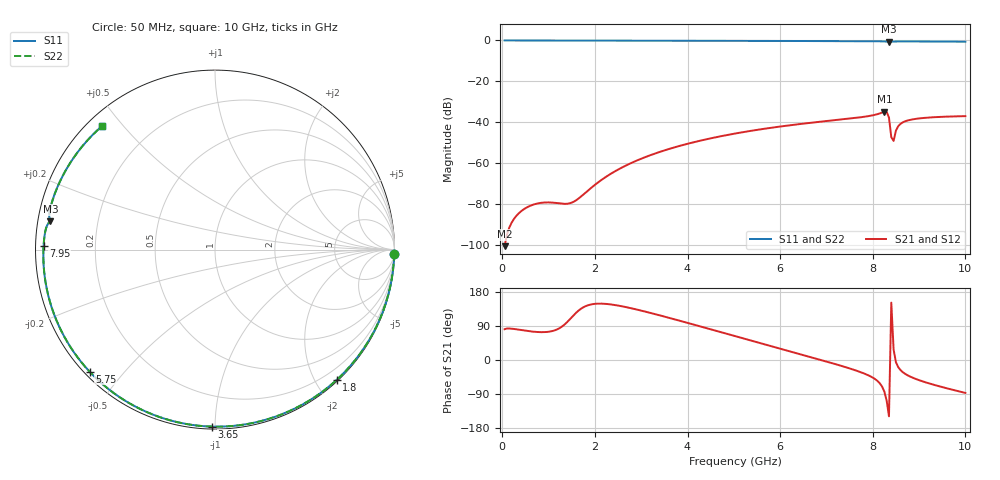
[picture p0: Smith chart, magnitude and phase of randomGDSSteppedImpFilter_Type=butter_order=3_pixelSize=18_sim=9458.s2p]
! freq	dB(S11)	phase(S11)	dB(S12)	phase(S12)
!  dB(S21)	phase(S21)	dB(S22)	phase(S22)
!S-par simulation data
#  GHz  S  DB  R 50
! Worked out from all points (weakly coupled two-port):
!   200 points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, 50 MHz to 10 GHz, reference 50 ohm
!   highest |S21| = -34.83 dB at 8.25 GHz (marker M1); lowest = -100.5 dB at 50 MHz (marker M2)
!   lowest |S11| = -0.6 dB at 8.35 GHz (marker M3), VSWR 27.67, Z = 1.82 + j4.25 ohm
!   |S11| at or under -10 dB: nowhere
!   |S22| runs from -0.6 to 0.0 dB; largest |S21 - S12| = 0
!   S11 on the Smith chart (normalised r, x): 50 MHz: 1, -89; 1.8 GHz: 0.02, -2.31; 3.65 GHz: 0.01, -0.98; 5.75 GHz: 0.01, -0.41; 7.95 GHz: 0.02, +0.01; 10 GHz: 0.04, +0.44
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0.05  -0.00 -1.3  -100.53 81.3  -100.53 81.3  -0.00 -1.3
0.7  -0.02 -18.5  -80.02 74.4  -80.02 74.4  -0.02 -18.5
1.4  -0.05 -36.7  -79.81 100.0  -79.81 100.0  -0.05 -36.7
1.75  -0.06 -45.6  -75.32 139.1  -75.32 139.1  -0.06 -45.6
1.8  -0.06 -46.9  -74.34 142.1  -74.34 142.1  -0.06 -46.9
2.5  -0.08 -64.1  -63.11 143.7  -63.11 143.7  -0.08 -64.1
3.4  -0.11 -85.2  -54.47 117.8  -54.47 117.8  -0.11 -85.3
3.65  -0.12 -90.9  -52.70 109.6  -52.70 109.6  -0.12 -90.9
5.05  -0.18 -121.2  -45.40 62.3  -45.40 62.3  -0.18 -121.3
5.75  -0.22 -135.8  -42.86 38.5  -42.86 38.5  -0.22 -135.8
6.7  -0.29 -155.2  -40.13 6.3  -40.13 6.3  -0.29 -155.2
7.95  -0.40 178.7  -36.81 -43.2  -36.81 -43.2  -0.40 178.7
8.25  -0.49 171.9  -34.83 -83.4  -34.83 -83.4  -0.49 171.9
8.3  -0.56 170.8  -34.89 -107.4  -34.89 -107.4  -0.56 170.8
8.35  -0.63 170.3  -37.71 -148.6  -37.71 -148.6  -0.63 170.3
8.4  -0.58 169.8  -47.28 151.4  -47.28 151.4  -0.58 169.8
8.45  -0.52 168.8  -49.09 27.3  -49.09 27.3  -0.52 168.8
8.5  -0.50 167.6  -44.04 -5.9  -44.04 -5.9  -0.50 167.6
8.55  -0.48 166.4  -41.89 -18.9  -41.89 -18.9  -0.48 166.4
8.7  -0.48 163.0  -39.50 -36.6  -39.50 -36.6  -0.48 163.0
9.15  -0.52 152.7  -37.78 -59.3  -37.78 -59.3  -0.52 152.7
10  -0.61 132.5  -36.99 -86.9  -36.99 -86.9  -0.61 132.4
